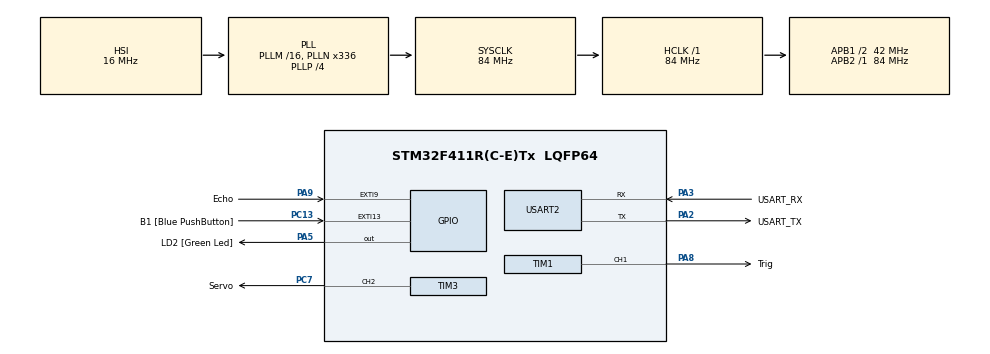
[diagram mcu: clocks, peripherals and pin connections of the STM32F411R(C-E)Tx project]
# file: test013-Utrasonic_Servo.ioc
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Mcu.Family=STM32F4
Mcu.Name=STM32F411R(C-E)Tx
Mcu.Package=LQFP64
NVIC.EXTI9_5_IRQn=true\:0\:0\:false\:false\:true\:true\:true\:true
NVIC.PriorityGroup=NVIC_PRIORITYGROUP_0
PA13.GPIO_Label=TMS
PA13.Mode=Serial_Wire
PA13.Signal=SYS_JTMS-SWDIO
PA14.GPIO_Label=TCK
PA14.Mode=Serial_Wire
PA14.Signal=SYS_JTCK-SWCLK
PA2.GPIO_Label=USART_TX
PA2.Mode=Asynchronous
PA2.Signal=USART2_TX
PA3.GPIO_Label=USART_RX
PA3.Mode=Asynchronous
PA3.Signal=USART2_RX
PA5.GPIO_Label=LD2 [Green Led]
PA5.Signal=GPIO_Output
PA8.GPIO_Label=Trig
PA8.Signal=S_TIM1_CH1
PA9.GPIO_Label=Echo
PA9.GPIO_ModeDefaultEXTI=GPIO_MODE_IT_RISING_FALLING
PA9.Signal=GPXTI9
PB3.GPIO_Label=SWO
PB3.Signal=SYS_JTDO-SWO
PC13-ANTI_TAMP.GPIO_Label=B1 [Blue PushButton]
PC13-ANTI_TAMP.GPIO_ModeDefaultEXTI=GPIO_MODE_IT_FALLING
PC13-ANTI_TAMP.Signal=GPXTI13
PC14-OSC32_IN.Mode=LSE-External-Oscillator
PC14-OSC32_IN.Signal=RCC_OSC32_IN
PC15-OSC32_OUT.Mode=LSE-External-Oscillator
PC15-OSC32_OUT.Signal=RCC_OSC32_OUT
PC7.GPIO_Label=Servo
PC7.Signal=S_TIM3_CH2
PH0\ -\ OSC_IN.Mode=HSE-External-Clock-Source
PH0\ -\ OSC_IN.Signal=RCC_OSC_IN
PH1\ -\ OSC_OUT.Mode=HSE-External-Clock-Source
PH1\ -\ OSC_OUT.Signal=RCC_OSC_OUT
ProjectManager.HeapSize=0x200
ProjectManager.StackSize=0x400
ProjectManager.TargetToolchain=STM32CubeIDE
RCC.48MHZClocksFreq_Value=84000000
RCC.AHBFreq_Value=84000000
RCC.APB1CLKDivider=RCC_HCLK_DIV2
RCC.APB1Freq_Value=42000000
RCC.APB1TimFreq_Value=84000000
RCC.APB2Freq_Value=84000000
RCC.APB2TimFreq_Value=84000000
RCC.CortexFreq_Value=84000000
RCC.FLatency-AdvancedSettings=FLASH_LATENCY_2
RCC.HCLKFreq_Value=84000000
RCC.HSE_VALUE=8000000
RCC.HSI_VALUE=16000000
RCC.PLLN=336
RCC.PLLP=RCC_PLLP_DIV4
RCC.SYSCLKFreq_VALUE=84000000
RCC.SYSCLKSource=RCC_SYSCLKSOURCE_PLLCLK
RCC.VCOOutputFreq_Value=336000000
SH.S_TIM1_CH1.0=TIM1_CH1,PWM Generation1 CH1
SH.S_TIM3_CH2.0=TIM3_CH2,PWM Generation2 CH2
TIM1.Channel-PWM\ Generation1\ CH1=TIM_CHANNEL_1
TIM1.Period=10000-1
TIM1.Prescaler=420-1
TIM1.Pulse-PWM\ Generation1\ CH1=2
TIM2.Prescaler=84-1
TIM3.Channel-PWM\ Generation2\ CH2=TIM_CHANNEL_2
TIM3.Period=20000-1
TIM3.Prescaler=84-1
TIM3.Pulse-PWM\ Generation2\ CH2=1500
USART2.VirtualMode=VM_ASYNC
VP_TIM1_VS_ClockSourceINT.Mode=Internal
VP_TIM2_VS_ClockSourceINT.Mode=Internal
VP_TIM3_VS_ClockSourceINT.Mode=Internal
board=NUCLEO-F411RE

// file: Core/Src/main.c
/* USER CODE BEGIN Header */
/**
  ******************************************************************************
  * @file           : main.c
  * @brief          : Main program body
  ******************************************************************************
  * @attention
  *
  * Copyright (c) 2025 STMicroelectronics.
  * All rights reserved.
  *
  * This software is licensed under terms that can be found in the LICENSE file
  * in the root directory of this software component.
  * If no LICENSE file comes with this software, it is provided AS-IS.
  *
  ******************************************************************************
  */
/* USER CODE END Header */
#include "main.h"

TIM_HandleTypeDef htim1;
TIM_HandleTypeDef htim2;
TIM_HandleTypeDef htim3;

UART_HandleTypeDef huart2;

void SystemClock_Config(void);
static void MX_GPIO_Init(void);
static void MX_USART2_UART_Init(void);
static void MX_TIM1_Init(void);
static void MX_TIM2_Init(void);
static void MX_TIM3_Init(void);

/* USER CODE BEGIN 0 */

double distance = 0.0;
void HAL_GPIO_EXTI_Callback(uint16_t GPIO_Pin)
{
	if(GPIO_Pin == Echo_Pin)
	{
		if(HAL_GPIO_ReadPin(Echo_GPIO_Port, Echo_Pin) == 1) // rising edge
		{
			htim2.Instance->CNT = 0;
		}
		else												// falling edge
		{
			distance = (htim2.Instance->CNT) * 0.17;
		}
	}
}

/* USER CODE END 0 */

int main(void)
{

  /* MCU Configuration--------------------------------------------------------*/

  /* Reset of all peripherals, Initializes the Flash interface and the Systick. */
  HAL_Init();

  /* Configure the system clock */
  SystemClock_Config();

  /* Initialize all configured peripherals */
  MX_GPIO_Init();
  MX_USART2_UART_Init();
  MX_TIM1_Init();
  MX_TIM2_Init();
  MX_TIM3_Init();
  /* USER CODE BEGIN 2 */

  ProgramStart("Motor Control With Ultrasonic");
  HAL_TIM_Base_Start(&htim2);
  HAL_TIM_PWM_Start(&htim1, TIM_CHANNEL_1);
  HAL_TIM_PWM_Start(&htim3, TIM_CHANNEL_2);

  /* USER CODE END 2 */

  /* Infinite loop */
  /* USER CODE BEGIN WHILE */
  while (1)
  {
	  if(distance < 500)	htim3.Instance->CCR2 = 2500;
	  else					htim3.Instance->CCR2 = 1500;

	  printf("Distance : %.2f \r\n", distance);
	  HAL_Delay(100);
    /* USER CODE END WHILE */

  }
}

void SystemClock_Config(void)
{
  RCC_OscInitTypeDef RCC_OscInitStruct = {0};
  RCC_ClkInitTypeDef RCC_ClkInitStruct = {0};

  /** Configure the main internal regulator output voltage
  */
  __HAL_RCC_PWR_CLK_ENABLE();
  __HAL_PWR_VOLTAGESCALING_CONFIG(PWR_REGULATOR_VOLTAGE_SCALE1);

  /** Initializes the RCC Oscillators according to the specified parameters
  * in the RCC_OscInitTypeDef structure.
  */
  RCC_OscInitStruct.OscillatorType = RCC_OSCILLATORTYPE_HSI;
  RCC_OscInitStruct.HSIState = RCC_HSI_ON;
  RCC_OscInitStruct.HSICalibrationValue = RCC_HSICALIBRATION_DEFAULT;
  RCC_OscInitStruct.PLL.PLLState = RCC_PLL_ON;
  RCC_OscInitStruct.PLL.PLLSource = RCC_PLLSOURCE_HSI;
  RCC_OscInitStruct.PLL.PLLM = 16;
  RCC_OscInitStruct.PLL.PLLN = 336;
  RCC_OscInitStruct.PLL.PLLP = RCC_PLLP_DIV4;
  RCC_OscInitStruct.PLL.PLLQ = 4;
  if (HAL_RCC_OscConfig(&RCC_OscInitStruct) != HAL_OK)
  {
    Error_Handler();
  }

  /** Initializes the CPU, AHB and APB buses clocks
  */
  RCC_ClkInitStruct.ClockType = RCC_CLOCKTYPE_HCLK|RCC_CLOCKTYPE_SYSCLK
                              |RCC_CLOCKTYPE_PCLK1|RCC_CLOCKTYPE_PCLK2;
  RCC_ClkInitStruct.SYSCLKSource = RCC_SYSCLKSOURCE_PLLCLK;
  RCC_ClkInitStruct.AHBCLKDivider = RCC_SYSCLK_DIV1;
  RCC_ClkInitStruct.APB1CLKDivider = RCC_HCLK_DIV2;
  RCC_ClkInitStruct.APB2CLKDivider = RCC_HCLK_DIV1;

  if (HAL_RCC_ClockConfig(&RCC_ClkInitStruct, FLASH_LATENCY_2) != HAL_OK)
  {
    Error_Handler();
  }
}

static void MX_TIM1_Init(void)
{

  TIM_ClockConfigTypeDef sClockSourceConfig = {0};
  TIM_MasterConfigTypeDef sMasterConfig = {0};
  TIM_OC_InitTypeDef sConfigOC = {0};
  TIM_BreakDeadTimeConfigTypeDef sBreakDeadTimeConfig = {0};

  htim1.Instance = TIM1;
  htim1.Init.Prescaler = 420-1;
  htim1.Init.CounterMode = TIM_COUNTERMODE_UP;
  htim1.Init.Period = 10000-1;
  htim1.Init.ClockDivision = TIM_CLOCKDIVISION_DIV1;
  htim1.Init.RepetitionCounter = 0;
  htim1.Init.AutoReloadPreload = TIM_AUTORELOAD_PRELOAD_DISABLE;
  if (HAL_TIM_Base_Init(&htim1) != HAL_OK)
  {
    Error_Handler();
  }
  sClockSourceConfig.ClockSource = TIM_CLOCKSOURCE_INTERNAL;
  if (HAL_TIM_ConfigClockSource(&htim1, &sClockSourceConfig) != HAL_OK)
  {
    Error_Handler();
  }
  if (HAL_TIM_PWM_Init(&htim1) != HAL_OK)
  {
    Error_Handler();
  }
  sMasterConfig.MasterOutputTrigger = TIM_TRGO_RESET;
  sMasterConfig.MasterSlaveMode = TIM_MASTERSLAVEMODE_DISABLE;
  if (HAL_TIMEx_MasterConfigSynchronization(&htim1, &sMasterConfig) != HAL_OK)
  {
    Error_Handler();
  }
  sConfigOC.OCMode = TIM_OCMODE_PWM1;
  sConfigOC.Pulse = 2;
  sConfigOC.OCPolarity = TIM_OCPOLARITY_HIGH;
  sConfigOC.OCNPolarity = TIM_OCNPOLARITY_HIGH;
  sConfigOC.OCFastMode = TIM_OCFAST_DISABLE;
  sConfigOC.OCIdleState = TIM_OCIDLESTATE_RESET;
  sConfigOC.OCNIdleState = TIM_OCNIDLESTATE_RESET;
  if (HAL_TIM_PWM_ConfigChannel(&htim1, &sConfigOC, TIM_CHANNEL_1) != HAL_OK)
  {
    Error_Handler();
  }
  sBreakDeadTimeConfig.OffStateRunMode = TIM_OSSR_DISABLE;
  sBreakDeadTimeConfig.OffStateIDLEMode = TIM_OSSI_DISABLE;
  sBreakDeadTimeConfig.LockLevel = TIM_LOCKLEVEL_OFF;
  sBreakDeadTimeConfig.DeadTime = 0;
  sBreakDeadTimeConfig.BreakState = TIM_BREAK_DISABLE;
  sBreakDeadTimeConfig.BreakPolarity = TIM_BREAKPOLARITY_HIGH;
  sBreakDeadTimeConfig.AutomaticOutput = TIM_AUTOMATICOUTPUT_DISABLE;
  if (HAL_TIMEx_ConfigBreakDeadTime(&htim1, &sBreakDeadTimeConfig) != HAL_OK)
  {
    Error_Handler();
  }
  HAL_TIM_MspPostInit(&htim1);

}

static void MX_TIM2_Init(void)
{

  TIM_ClockConfigTypeDef sClockSourceConfig = {0};
  TIM_MasterConfigTypeDef sMasterConfig = {0};

  htim2.Instance = TIM2;
  htim2.Init.Prescaler = 84-1;
  htim2.Init.CounterMode = TIM_COUNTERMODE_UP;
  htim2.Init.Period = 4294967295;
  htim2.Init.ClockDivision = TIM_CLOCKDIVISION_DIV1;
  htim2.Init.AutoReloadPreload = TIM_AUTORELOAD_PRELOAD_DISABLE;
  if (HAL_TIM_Base_Init(&htim2) != HAL_OK)
  {
    Error_Handler();
  }
  sClockSourceConfig.ClockSource = TIM_CLOCKSOURCE_INTERNAL;
  if (HAL_TIM_ConfigClockSource(&htim2, &sClockSourceConfig) != HAL_OK)
  {
    Error_Handler();
  }
  sMasterConfig.MasterOutputTrigger = TIM_TRGO_RESET;
  sMasterConfig.MasterSlaveMode = TIM_MASTERSLAVEMODE_DISABLE;
  if (HAL_TIMEx_MasterConfigSynchronization(&htim2, &sMasterConfig) != HAL_OK)
  {
    Error_Handler();
  }

}

static void MX_TIM3_Init(void)
{

  TIM_ClockConfigTypeDef sClockSourceConfig = {0};
  TIM_MasterConfigTypeDef sMasterConfig = {0};
  TIM_OC_InitTypeDef sConfigOC = {0};

  htim3.Instance = TIM3;
  htim3.Init.Prescaler = 84-1;
  htim3.Init.CounterMode = TIM_COUNTERMODE_UP;
  htim3.Init.Period = 20000-1;
  htim3.Init.ClockDivision = TIM_CLOCKDIVISION_DIV1;
  htim3.Init.AutoReloadPreload = TIM_AUTORELOAD_PRELOAD_DISABLE;
  if (HAL_TIM_Base_Init(&htim3) != HAL_OK)
  {
    Error_Handler();
  }
  sClockSourceConfig.ClockSource = TIM_CLOCKSOURCE_INTERNAL;
  if (HAL_TIM_ConfigClockSource(&htim3, &sClockSourceConfig) != HAL_OK)
  {
    Error_Handler();
  }
  if (HAL_TIM_PWM_Init(&htim3) != HAL_OK)
  {
    Error_Handler();
  }
  sMasterConfig.MasterOutputTrigger = TIM_TRGO_RESET;
  sMasterConfig.MasterSlaveMode = TIM_MASTERSLAVEMODE_DISABLE;
  if (HAL_TIMEx_MasterConfigSynchronization(&htim3, &sMasterConfig) != HAL_OK)
  {
    Error_Handler();
  }
  sConfigOC.OCMode = TIM_OCMODE_PWM1;
  sConfigOC.Pulse = 1500;
  sConfigOC.OCPolarity = TIM_OCPOLARITY_HIGH;
  sConfigOC.OCFastMode = TIM_OCFAST_DISABLE;
  if (HAL_TIM_PWM_ConfigChannel(&htim3, &sConfigOC, TIM_CHANNEL_2) != HAL_OK)
  {
    Error_Handler();
  }
  HAL_TIM_MspPostInit(&htim3);

}

static void MX_USART2_UART_Init(void)
{

  huart2.Instance = USART2;
  huart2.Init.BaudRate = 115200;
  huart2.Init.WordLength = UART_WORDLENGTH_8B;
  huart2.Init.StopBits = UART_STOPBITS_1;
  huart2.Init.Parity = UART_PARITY_NONE;
  huart2.Init.Mode = UART_MODE_TX_RX;
  huart2.Init.HwFlowCtl = UART_HWCONTROL_NONE;
  huart2.Init.OverSampling = UART_OVERSAMPLING_16;
  if (HAL_UART_Init(&huart2) != HAL_OK)
  {
    Error_Handler();
  }

}

static void MX_GPIO_Init(void)
{
  GPIO_InitTypeDef GPIO_InitStruct = {0};

  /* GPIO Ports Clock Enable */
  __HAL_RCC_GPIOC_CLK_ENABLE();
  __HAL_RCC_GPIOH_CLK_ENABLE();
  __HAL_RCC_GPIOA_CLK_ENABLE();
  __HAL_RCC_GPIOB_CLK_ENABLE();

  /*Configure GPIO pin Output Level */
  HAL_GPIO_WritePin(LD2_GPIO_Port, LD2_Pin, GPIO_PIN_RESET);

  /*Configure GPIO pin : B1_Pin */
  GPIO_InitStruct.Pin = B1_Pin;
  GPIO_InitStruct.Mode = GPIO_MODE_IT_FALLING;
  GPIO_InitStruct.Pull = GPIO_NOPULL;
  HAL_GPIO_Init(B1_GPIO_Port, &GPIO_InitStruct);

  /*Configure GPIO pin : LD2_Pin */
  GPIO_InitStruct.Pin = LD2_Pin;
  GPIO_InitStruct.Mode = GPIO_MODE_OUTPUT_PP;
  GPIO_InitStruct.Pull = GPIO_NOPULL;
  GPIO_InitStruct.Speed = GPIO_SPEED_FREQ_LOW;
  HAL_GPIO_Init(LD2_GPIO_Port, &GPIO_InitStruct);

  /*Configure GPIO pin : Echo_Pin */
  GPIO_InitStruct.Pin = Echo_Pin;
  GPIO_InitStruct.Mode = GPIO_MODE_IT_RISING_FALLING;
  GPIO_InitStruct.Pull = GPIO_NOPULL;
  HAL_GPIO_Init(Echo_GPIO_Port, &GPIO_InitStruct);

  /* EXTI interrupt init*/
  HAL_NVIC_SetPriority(EXTI9_5_IRQn, 0, 0);
  HAL_NVIC_EnableIRQ(EXTI9_5_IRQn);

}

void Error_Handler(void)
{
  __disable_irq();
  while (1)
  {
  }
}
